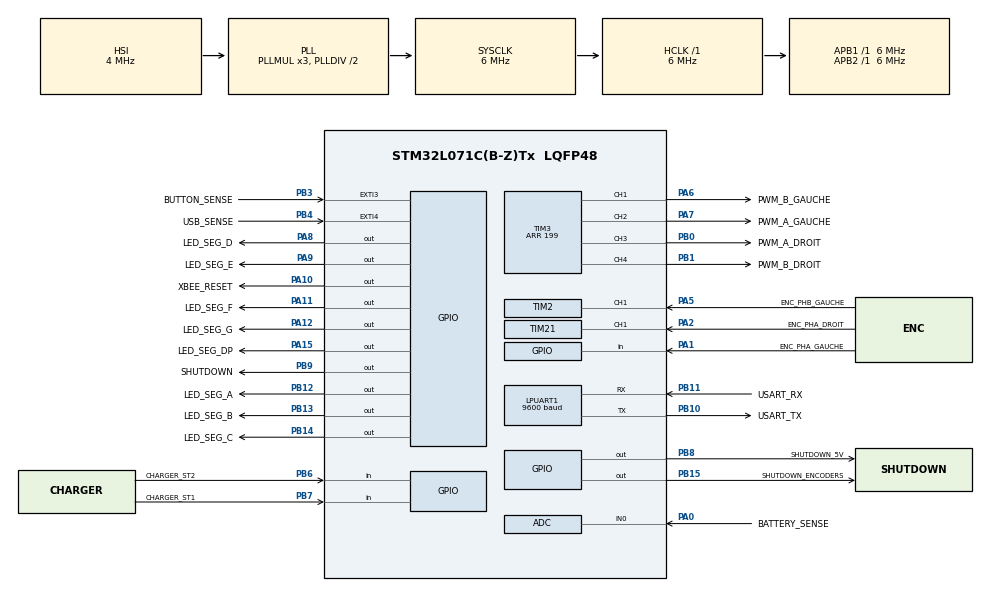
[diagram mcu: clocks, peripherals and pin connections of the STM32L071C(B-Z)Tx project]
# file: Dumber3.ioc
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ADC.Resolution=ADC_RESOLUTION_8B
ADC.SamplingTime=ADC_SAMPLETIME_160CYCLES_5
FREERTOS.INCLUDE_pcTaskGetTaskName=1
FREERTOS.INCLUDE_xEventGroupSetBitFromISR=1
FREERTOS.INCLUDE_xTaskAbortDelay=1
FREERTOS.INCLUDE_xTaskGetCurrentTaskHandle=1
FREERTOS.INCLUDE_xTaskGetHandle=1
FREERTOS.Tasks01=defaultTask,24,128,StartDefaultTask,Default,NULL,Dynamic,NULL,NULL
FREERTOS.configMAX_TASK_NAME_LEN=25
FREERTOS.configTICK_RATE_HZ=1000
FREERTOS.configTIMER_TASK_PRIORITY=3
FREERTOS.configTOTAL_HEAP_SIZE=1024
FREERTOS.configUSE_NEWLIB_REENTRANT=1
FREERTOS.configUSE_TICKLESS_IDLE=1
LPUART1.BaudRate=9600
LPUART1.DMADisableonRxErrorParam=UART_ADVFEATURE_DMA_DISABLEONRXERROR
LPUART1.WordLength=UART_WORDLENGTH_8B
Mcu.Family=STM32L0
Mcu.Name=STM32L071C(B-Z)Tx
Mcu.Package=LQFP48
NVIC.ADC1_COMP_IRQn=true\:3\:0\:false\:false\:true\:true\:true\:true\:true
NVIC.EXTI2_3_IRQn=true\:3\:0\:false\:false\:true\:true\:true\:true\:true
NVIC.EXTI4_15_IRQn=true\:3\:0\:false\:false\:true\:true\:true\:true\:true
NVIC.LPUART1_IRQn=true\:3\:0\:true\:false\:true\:true\:true\:true\:true
NVIC.TIM21_IRQn=true\:1\:0\:true\:false\:true\:false\:true\:true\:true
NVIC.TIM2_IRQn=true\:1\:0\:true\:false\:true\:false\:true\:true\:true
NVIC.TIM6_IRQn=true\:3\:0\:true\:false\:true\:false\:false\:true\:true
NVIC.TimeBase=TIM6_IRQn
NVIC.TimeBaseIP=TIM6
PA0.GPIO_Label=BATTERY_SENSE
PA0.Mode=IN0
PA0.Signal=ADC_IN0
PA1.GPIO_Label=ENC_PHA_GAUCHE
PA1.Signal=GPIO_Input
PA10.GPIO_Label=XBEE_RESET
PA10.PinState=GPIO_PIN_RESET
PA10.Signal=GPIO_Output
PA11.GPIO_Label=LED_SEG_F
PA11.Signal=GPIO_Output
PA12.GPIO_Label=LED_SEG_G
PA12.Signal=GPIO_Output
PA13.Mode=Serial_Wire
PA13.Signal=SYS_SWDIO
PA14.Mode=Serial_Wire
PA14.Signal=SYS_SWCLK
PA15.GPIO_Label=LED_SEG_DP
PA15.Signal=GPIO_Output
PA2.GPIO_Label=ENC_PHA_DROIT
PA2.Signal=S_TIM21_CH1
PA5.GPIO_Label=ENC_PHB_GAUCHE
PA5.Signal=S_TIM2_CH1
PA6.GPIO_Label=PWM_B_GAUCHE
PA6.Signal=S_TIM3_CH1
PA7.GPIO_Label=PWM_A_GAUCHE
PA7.Signal=S_TIM3_CH2
PA8.GPIO_Label=LED_SEG_D
PA8.Signal=GPIO_Output
PA9.GPIO_Label=LED_SEG_E
PA9.Signal=GPIO_Output
PB0.GPIO_Label=PWM_A_DROIT
PB0.GPIO_Speed=GPIO_SPEED_FREQ_LOW
PB0.Signal=S_TIM3_CH3
PB1.GPIO_Label=PWM_B_DROIT
PB1.GPIO_Speed=GPIO_SPEED_FREQ_LOW
PB1.Signal=S_TIM3_CH4
PB10.GPIO_Label=USART_TX
PB10.GPIO_Speed=GPIO_SPEED_FREQ_LOW
PB10.Mode=Asynchronous
PB10.Signal=LPUART1_TX
PB11.GPIO_Label=USART_RX
PB11.GPIO_Speed=GPIO_SPEED_FREQ_LOW
PB11.Mode=Asynchronous
PB11.Signal=LPUART1_RX
PB12.GPIO_Label=LED_SEG_A
PB12.GPIO_Speed=GPIO_SPEED_FREQ_LOW
PB12.PinState=GPIO_PIN_RESET
PB12.Signal=GPIO_Output
PB13.GPIO_Label=LED_SEG_B
PB13.GPIO_Speed=GPIO_SPEED_FREQ_LOW
PB13.Signal=GPIO_Output
PB14.GPIO_Label=LED_SEG_C
PB14.GPIO_Speed=GPIO_SPEED_FREQ_LOW
PB14.Signal=GPIO_Output
PB15.GPIO_Label=SHUTDOWN_ENCODERS
PB15.PinState=GPIO_PIN_SET
PB15.Signal=GPIO_Output
PB3.GPIO_Label=BUTTON_SENSE
PB3.GPIO_ModeDefaultEXTI=GPIO_MODE_IT_FALLING
PB3.Signal=GPXTI3
PB4.GPIO_Label=USB_SENSE
PB4.GPIO_ModeDefaultEXTI=GPIO_MODE_IT_RISING_FALLING
PB4.Signal=GPXTI4
PB6.GPIO_Label=CHARGER_ST2
PB6.Signal=GPIO_Input
PB7.GPIO_Label=CHARGER_ST1
PB7.Signal=GPIO_Input
PB8.GPIO_Label=SHUTDOWN_5V
PB8.Signal=GPIO_Output
PB9.GPIO_Label=SHUTDOWN
PB9.GPIO_ModeDefaultOutputPP=GPIO_MODE_OUTPUT_OD
PB9.PinState=GPIO_PIN_SET
PB9.Signal=GPIO_Output
ProjectManager.HeapSize=0x0
ProjectManager.StackSize=0x200
ProjectManager.TargetToolchain=STM32CubeIDE
RCC.ADCFreq_Value=4000000
RCC.AHBFreq_Value=6000000
RCC.APB1Freq_Value=6000000
RCC.APB1TimFreq_Value=6000000
RCC.APB2Freq_Value=6000000
RCC.APB2TimFreq_Value=6000000
RCC.HCLKFreq_Value=6000000
RCC.HSE_VALUE=8000000
RCC.HSI16_VALUE=16000000
RCC.HSIRCDiv=4
RCC.HSI_VALUE=4000000
RCC.LSE_VALUE=32768
RCC.MSI_VALUE=2097000
RCC.SYSCLKFreq_VALUE=6000000
RCC.SYSCLKSource=RCC_SYSCLKSOURCE_PLLCLK
RCC.VCOOutputFreq_Value=12000000
SH.S_TIM21_CH1.0=TIM21_CH1,PWM_Input_1
SH.S_TIM2_CH1.0=TIM2_CH1,PWM_Input_1
SH.S_TIM3_CH1.0=TIM3_CH1,PWM Generation1 CH1
SH.S_TIM3_CH2.0=TIM3_CH2,PWM Generation2 CH2
SH.S_TIM3_CH3.0=TIM3_CH3,PWM Generation3 CH3
SH.S_TIM3_CH4.0=TIM3_CH4,PWM Generation4 CH4
TIM2.ICFilter_1=3
TIM2.ICFilter_2=3
TIM2.Prescaler=0
TIM21.ICFilter_1=3
TIM21.ICFilter_2=3
TIM21.Prescaler=0
TIM3.Channel-PWM\ Generation1\ CH1=TIM_CHANNEL_1
TIM3.Channel-PWM\ Generation2\ CH2=TIM_CHANNEL_2
TIM3.Channel-PWM\ Generation3\ CH3=TIM_CHANNEL_3
TIM3.Channel-PWM\ Generation4\ CH4=TIM_CHANNEL_4
TIM3.Period=199
VP_FREERTOS_VS_CMSIS_V2.Mode=CMSIS_V2
VP_SYS_VS_tim6.Mode=TIM6
VP_TIM21_VS_ClockSourceINT.Mode=Internal
VP_TIM2_VS_ClockSourceINT.Mode=Internal
VP_TIM3_VS_ClockSourceINT.Mode=Internal
board=custom

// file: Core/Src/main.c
/* USER CODE BEGIN Header */
/**
 ******************************************************************************
 * @file           : main.c
 * @brief          : Main program body
 ******************************************************************************
 * @attention
 *
 * <h2><center>&copy; Copyright (c) 2022 STMicroelectronics.
 * All rights reserved.</center></h2>
 *
 * This software component is licensed by ST under BSD 3-Clause license,
 * the "License"; You may not use this file except in compliance with the
 * License. You may obtain a copy of the License at:
 *                        opensource.org/licenses/BSD-3-Clause
 *
 ******************************************************************************
 */
/* USER CODE END Header */
#include "main.h"
#include "cmsis_os.h"

/* USER CODE BEGIN Includes */
#include "application.h"

#ifdef TESTS
#include "tests.h"
#endif /* TESTS */

/* USER CODE END Includes */

ADC_HandleTypeDef hadc;

UART_HandleTypeDef hlpuart1;

TIM_HandleTypeDef htim2;
TIM_HandleTypeDef htim3;
TIM_HandleTypeDef htim21;

/* Definitions for defaultTask */
osThreadId_t defaultTaskHandle;
const osThreadAttr_t defaultTask_attributes = {
  .name = "defaultTask",
  .stack_size = 128 * 4,
  .priority = (osPriority_t) osPriorityNormal,
};

void SystemClock_Config(void);
static void MX_GPIO_Init(void);
static void MX_LPUART1_UART_Init(void);
static void MX_TIM2_Init(void);
static void MX_TIM3_Init(void);
static void MX_TIM21_Init(void);
static void MX_ADC_Init(void);
void StartDefaultTask(void *argument);

int main(void)
{

  /* MCU Configuration--------------------------------------------------------*/

  /* Reset of all peripherals, Initializes the Flash interface and the Systick. */
  HAL_Init();

  /* Configure the system clock */
  SystemClock_Config();

  /* Initialize all configured peripherals */
  MX_GPIO_Init();
  MX_LPUART1_UART_Init();
  MX_TIM2_Init();
  MX_TIM3_Init();
  MX_TIM21_Init();
  MX_ADC_Init();
  /* USER CODE BEGIN 2 */
#ifdef TESTS
  TESTS_Init();
#else
  APPLICATION_Init();
#endif /* TESTS */
  /* USER CODE END 2 */

  /* Init scheduler */
  osKernelInitialize();

  /* Create the thread(s) */
  /* creation of defaultTask */
  defaultTaskHandle = osThreadNew(StartDefaultTask, NULL, &defaultTask_attributes);

  /* Start scheduler */
  osKernelStart();

  /* We should never get here as control is now taken by the scheduler */
  /* Infinite loop */
	while (1)
	{

	}
}

void SystemClock_Config(void)
{
  RCC_OscInitTypeDef RCC_OscInitStruct = {0};
  RCC_ClkInitTypeDef RCC_ClkInitStruct = {0};
  RCC_PeriphCLKInitTypeDef PeriphClkInit = {0};

  /** Configure the main internal regulator output voltage
  */
  __HAL_PWR_VOLTAGESCALING_CONFIG(PWR_REGULATOR_VOLTAGE_SCALE1);

  /** Initializes the RCC Oscillators according to the specified parameters
  * in the RCC_OscInitTypeDef structure.
  */
  RCC_OscInitStruct.OscillatorType = RCC_OSCILLATORTYPE_HSI;
  RCC_OscInitStruct.HSIState = RCC_HSI_DIV4;
  RCC_OscInitStruct.HSICalibrationValue = RCC_HSICALIBRATION_DEFAULT;
  RCC_OscInitStruct.PLL.PLLState = RCC_PLL_ON;
  RCC_OscInitStruct.PLL.PLLSource = RCC_PLLSOURCE_HSI;
  RCC_OscInitStruct.PLL.PLLMUL = RCC_PLLMUL_3;
  RCC_OscInitStruct.PLL.PLLDIV = RCC_PLLDIV_2;
  if (HAL_RCC_OscConfig(&RCC_OscInitStruct) != HAL_OK)
  {
    Error_Handler();
  }

  /** Initializes the CPU, AHB and APB buses clocks
  */
  RCC_ClkInitStruct.ClockType = RCC_CLOCKTYPE_HCLK|RCC_CLOCKTYPE_SYSCLK
                              |RCC_CLOCKTYPE_PCLK1|RCC_CLOCKTYPE_PCLK2;
  RCC_ClkInitStruct.SYSCLKSource = RCC_SYSCLKSOURCE_PLLCLK;
  RCC_ClkInitStruct.AHBCLKDivider = RCC_SYSCLK_DIV1;
  RCC_ClkInitStruct.APB1CLKDivider = RCC_HCLK_DIV1;
  RCC_ClkInitStruct.APB2CLKDivider = RCC_HCLK_DIV1;

  if (HAL_RCC_ClockConfig(&RCC_ClkInitStruct, FLASH_LATENCY_0) != HAL_OK)
  {
    Error_Handler();
  }
  PeriphClkInit.PeriphClockSelection = RCC_PERIPHCLK_LPUART1;
  PeriphClkInit.Lpuart1ClockSelection = RCC_LPUART1CLKSOURCE_PCLK1;
  if (HAL_RCCEx_PeriphCLKConfig(&PeriphClkInit) != HAL_OK)
  {
    Error_Handler();
  }
}

static void MX_ADC_Init(void)
{

  ADC_ChannelConfTypeDef sConfig = {0};

  /** Configure the global features of the ADC (Clock, Resolution, Data Alignment and number of conversion)
  */
  hadc.Instance = ADC1;
  hadc.Init.OversamplingMode = DISABLE;
  hadc.Init.ClockPrescaler = ADC_CLOCK_SYNC_PCLK_DIV1;
  hadc.Init.Resolution = ADC_RESOLUTION_8B;
  hadc.Init.SamplingTime = ADC_SAMPLETIME_160CYCLES_5;
  hadc.Init.ScanConvMode = ADC_SCAN_DIRECTION_FORWARD;
  hadc.Init.DataAlign = ADC_DATAALIGN_RIGHT;
  hadc.Init.ContinuousConvMode = DISABLE;
  hadc.Init.DiscontinuousConvMode = DISABLE;
  hadc.Init.ExternalTrigConvEdge = ADC_EXTERNALTRIGCONVEDGE_NONE;
  hadc.Init.ExternalTrigConv = ADC_SOFTWARE_START;
  hadc.Init.DMAContinuousRequests = DISABLE;
  hadc.Init.EOCSelection = ADC_EOC_SINGLE_CONV;
  hadc.Init.Overrun = ADC_OVR_DATA_PRESERVED;
  hadc.Init.LowPowerAutoWait = DISABLE;
  hadc.Init.LowPowerFrequencyMode = DISABLE;
  hadc.Init.LowPowerAutoPowerOff = DISABLE;
  if (HAL_ADC_Init(&hadc) != HAL_OK)
  {
    Error_Handler();
  }

  /** Configure for the selected ADC regular channel to be converted.
  */
  sConfig.Channel = ADC_CHANNEL_0;
  sConfig.Rank = ADC_RANK_CHANNEL_NUMBER;
  if (HAL_ADC_ConfigChannel(&hadc, &sConfig) != HAL_OK)
  {
    Error_Handler();
  }

}

static void MX_LPUART1_UART_Init(void)
{

  hlpuart1.Instance = LPUART1;
  hlpuart1.Init.BaudRate = 9600;
  hlpuart1.Init.WordLength = UART_WORDLENGTH_8B;
  hlpuart1.Init.StopBits = UART_STOPBITS_1;
  hlpuart1.Init.Parity = UART_PARITY_NONE;
  hlpuart1.Init.Mode = UART_MODE_TX_RX;
  hlpuart1.Init.HwFlowCtl = UART_HWCONTROL_NONE;
  hlpuart1.Init.OneBitSampling = UART_ONE_BIT_SAMPLE_DISABLE;
  hlpuart1.AdvancedInit.AdvFeatureInit = UART_ADVFEATURE_DMADISABLEONERROR_INIT;
  hlpuart1.AdvancedInit.DMADisableonRxError = UART_ADVFEATURE_DMA_DISABLEONRXERROR;
  if (HAL_UART_Init(&hlpuart1) != HAL_OK)
  {
    Error_Handler();
  }

}

static void MX_TIM2_Init(void)
{

  TIM_ClockConfigTypeDef sClockSourceConfig = {0};
  TIM_SlaveConfigTypeDef sSlaveConfig = {0};
  TIM_IC_InitTypeDef sConfigIC = {0};
  TIM_MasterConfigTypeDef sMasterConfig = {0};

  htim2.Instance = TIM2;
  htim2.Init.Prescaler = 0;
  htim2.Init.CounterMode = TIM_COUNTERMODE_UP;
  htim2.Init.Period = 65535;
  htim2.Init.ClockDivision = TIM_CLOCKDIVISION_DIV1;
  htim2.Init.AutoReloadPreload = TIM_AUTORELOAD_PRELOAD_DISABLE;
  if (HAL_TIM_Base_Init(&htim2) != HAL_OK)
  {
    Error_Handler();
  }
  sClockSourceConfig.ClockSource = TIM_CLOCKSOURCE_INTERNAL;
  if (HAL_TIM_ConfigClockSource(&htim2, &sClockSourceConfig) != HAL_OK)
  {
    Error_Handler();
  }
  if (HAL_TIM_IC_Init(&htim2) != HAL_OK)
  {
    Error_Handler();
  }
  sSlaveConfig.SlaveMode = TIM_SLAVEMODE_RESET;
  sSlaveConfig.InputTrigger = TIM_TS_TI1FP1;
  sSlaveConfig.TriggerPolarity = TIM_INPUTCHANNELPOLARITY_RISING;
  sSlaveConfig.TriggerPrescaler = TIM_ICPSC_DIV1;
  sSlaveConfig.TriggerFilter = 3;
  if (HAL_TIM_SlaveConfigSynchro(&htim2, &sSlaveConfig) != HAL_OK)
  {
    Error_Handler();
  }
  sConfigIC.ICPolarity = TIM_INPUTCHANNELPOLARITY_RISING;
  sConfigIC.ICSelection = TIM_ICSELECTION_DIRECTTI;
  sConfigIC.ICPrescaler = TIM_ICPSC_DIV1;
  sConfigIC.ICFilter = 3;
  if (HAL_TIM_IC_ConfigChannel(&htim2, &sConfigIC, TIM_CHANNEL_1) != HAL_OK)
  {
    Error_Handler();
  }
  sConfigIC.ICPolarity = TIM_INPUTCHANNELPOLARITY_FALLING;
  sConfigIC.ICSelection = TIM_ICSELECTION_INDIRECTTI;
  if (HAL_TIM_IC_ConfigChannel(&htim2, &sConfigIC, TIM_CHANNEL_2) != HAL_OK)
  {
    Error_Handler();
  }
  sMasterConfig.MasterOutputTrigger = TIM_TRGO_RESET;
  sMasterConfig.MasterSlaveMode = TIM_MASTERSLAVEMODE_DISABLE;
  if (HAL_TIMEx_MasterConfigSynchronization(&htim2, &sMasterConfig) != HAL_OK)
  {
    Error_Handler();
  }

}

static void MX_TIM3_Init(void)
{

  TIM_ClockConfigTypeDef sClockSourceConfig = {0};
  TIM_MasterConfigTypeDef sMasterConfig = {0};
  TIM_OC_InitTypeDef sConfigOC = {0};

  htim3.Instance = TIM3;
  htim3.Init.Prescaler = 0;
  htim3.Init.CounterMode = TIM_COUNTERMODE_UP;
  htim3.Init.Period = 199;
  htim3.Init.ClockDivision = TIM_CLOCKDIVISION_DIV1;
  htim3.Init.AutoReloadPreload = TIM_AUTORELOAD_PRELOAD_DISABLE;
  if (HAL_TIM_Base_Init(&htim3) != HAL_OK)
  {
    Error_Handler();
  }
  sClockSourceConfig.ClockSource = TIM_CLOCKSOURCE_INTERNAL;
  if (HAL_TIM_ConfigClockSource(&htim3, &sClockSourceConfig) != HAL_OK)
  {
    Error_Handler();
  }
  if (HAL_TIM_PWM_Init(&htim3) != HAL_OK)
  {
    Error_Handler();
  }
  sMasterConfig.MasterOutputTrigger = TIM_TRGO_RESET;
  sMasterConfig.MasterSlaveMode = TIM_MASTERSLAVEMODE_DISABLE;
  if (HAL_TIMEx_MasterConfigSynchronization(&htim3, &sMasterConfig) != HAL_OK)
  {
    Error_Handler();
  }
  sConfigOC.OCMode = TIM_OCMODE_PWM1;
  sConfigOC.Pulse = 0;
  sConfigOC.OCPolarity = TIM_OCPOLARITY_HIGH;
  sConfigOC.OCFastMode = TIM_OCFAST_DISABLE;
  if (HAL_TIM_PWM_ConfigChannel(&htim3, &sConfigOC, TIM_CHANNEL_1) != HAL_OK)
  {
    Error_Handler();
  }
  if (HAL_TIMEx_RemapConfig(&htim3, TIM3_TI1_GPIO) != HAL_OK)
  {
    Error_Handler();
  }
  if (HAL_TIM_PWM_ConfigChannel(&htim3, &sConfigOC, TIM_CHANNEL_2) != HAL_OK)
  {
    Error_Handler();
  }
  if (HAL_TIM_PWM_ConfigChannel(&htim3, &sConfigOC, TIM_CHANNEL_3) != HAL_OK)
  {
    Error_Handler();
  }
  if (HAL_TIM_PWM_ConfigChannel(&htim3, &sConfigOC, TIM_CHANNEL_4) != HAL_OK)
  {
    Error_Handler();
  }
  HAL_TIM_MspPostInit(&htim3);

}

static void MX_TIM21_Init(void)
{

  TIM_ClockConfigTypeDef sClockSourceConfig = {0};
  TIM_SlaveConfigTypeDef sSlaveConfig = {0};
  TIM_IC_InitTypeDef sConfigIC = {0};
  TIM_MasterConfigTypeDef sMasterConfig = {0};

  htim21.Instance = TIM21;
  htim21.Init.Prescaler = 0;
  htim21.Init.CounterMode = TIM_COUNTERMODE_UP;
  htim21.Init.Period = 65535;
  htim21.Init.ClockDivision = TIM_CLOCKDIVISION_DIV1;
  htim21.Init.AutoReloadPreload = TIM_AUTORELOAD_PRELOAD_DISABLE;
  if (HAL_TIM_Base_Init(&htim21) != HAL_OK)
  {
    Error_Handler();
  }
  sClockSourceConfig.ClockSource = TIM_CLOCKSOURCE_INTERNAL;
  if (HAL_TIM_ConfigClockSource(&htim21, &sClockSourceConfig) != HAL_OK)
  {
    Error_Handler();
  }
  if (HAL_TIM_IC_Init(&htim21) != HAL_OK)
  {
    Error_Handler();
  }
  sSlaveConfig.SlaveMode = TIM_SLAVEMODE_RESET;
  sSlaveConfig.InputTrigger = TIM_TS_TI1FP1;
  sSlaveConfig.TriggerPolarity = TIM_INPUTCHANNELPOLARITY_RISING;
  sSlaveConfig.TriggerPrescaler = TIM_ICPSC_DIV1;
  sSlaveConfig.TriggerFilter = 3;
  if (HAL_TIM_SlaveConfigSynchro(&htim21, &sSlaveConfig) != HAL_OK)
  {
    Error_Handler();
  }
  sConfigIC.ICPolarity = TIM_INPUTCHANNELPOLARITY_RISING;
  sConfigIC.ICSelection = TIM_ICSELECTION_DIRECTTI;
  sConfigIC.ICPrescaler = TIM_ICPSC_DIV1;
  sConfigIC.ICFilter = 3;
  if (HAL_TIM_IC_ConfigChannel(&htim21, &sConfigIC, TIM_CHANNEL_1) != HAL_OK)
  {
    Error_Handler();
  }
  sConfigIC.ICPolarity = TIM_INPUTCHANNELPOLARITY_FALLING;
  sConfigIC.ICSelection = TIM_ICSELECTION_INDIRECTTI;
  if (HAL_TIM_IC_ConfigChannel(&htim21, &sConfigIC, TIM_CHANNEL_2) != HAL_OK)
  {
    Error_Handler();
  }
  sMasterConfig.MasterOutputTrigger = TIM_TRGO_RESET;
  sMasterConfig.MasterSlaveMode = TIM_MASTERSLAVEMODE_DISABLE;
  if (HAL_TIMEx_MasterConfigSynchronization(&htim21, &sMasterConfig) != HAL_OK)
  {
    Error_Handler();
  }

}

static void MX_GPIO_Init(void)
{
  GPIO_InitTypeDef GPIO_InitStruct = {0};

  /* GPIO Ports Clock Enable */
  __HAL_RCC_GPIOA_CLK_ENABLE();
  __HAL_RCC_GPIOB_CLK_ENABLE();

  /*Configure GPIO pin Output Level */
  HAL_GPIO_WritePin(GPIOB, LED_SEG_A_Pin|LED_SEG_B_Pin|LED_SEG_C_Pin|SHUTDOWN_5V_Pin, GPIO_PIN_RESET);

  /*Configure GPIO pin Output Level */
  HAL_GPIO_WritePin(GPIOB, SHUTDOWN_ENCODERS_Pin|SHUTDOWN_Pin, GPIO_PIN_SET);

  /*Configure GPIO pin Output Level */
  HAL_GPIO_WritePin(GPIOA, LED_SEG_D_Pin|LED_SEG_E_Pin|XBEE_RESET_Pin|LED_SEG_F_Pin
                          |LED_SEG_G_Pin|LED_SEG_DP_Pin, GPIO_PIN_RESET);

  /*Configure GPIO pin : ENC_PHA_GAUCHE_Pin */
  GPIO_InitStruct.Pin = ENC_PHA_GAUCHE_Pin;
  GPIO_InitStruct.Mode = GPIO_MODE_INPUT;
  GPIO_InitStruct.Pull = GPIO_NOPULL;
  HAL_GPIO_Init(ENC_PHA_GAUCHE_GPIO_Port, &GPIO_InitStruct);

  /*Configure GPIO pins : LED_SEG_A_Pin LED_SEG_B_Pin LED_SEG_C_Pin SHUTDOWN_ENCODERS_Pin
                           SHUTDOWN_5V_Pin */
  GPIO_InitStruct.Pin = LED_SEG_A_Pin|LED_SEG_B_Pin|LED_SEG_C_Pin|SHUTDOWN_ENCODERS_Pin
                          |SHUTDOWN_5V_Pin;
  GPIO_InitStruct.Mode = GPIO_MODE_OUTPUT_PP;
  GPIO_InitStruct.Pull = GPIO_NOPULL;
  GPIO_InitStruct.Speed = GPIO_SPEED_FREQ_LOW;
  HAL_GPIO_Init(GPIOB, &GPIO_InitStruct);

  /*Configure GPIO pins : LED_SEG_D_Pin LED_SEG_E_Pin XBEE_RESET_Pin LED_SEG_F_Pin
                           LED_SEG_G_Pin LED_SEG_DP_Pin */
  GPIO_InitStruct.Pin = LED_SEG_D_Pin|LED_SEG_E_Pin|XBEE_RESET_Pin|LED_SEG_F_Pin
                          |LED_SEG_G_Pin|LED_SEG_DP_Pin;
  GPIO_InitStruct.Mode = GPIO_MODE_OUTPUT_PP;
  GPIO_InitStruct.Pull = GPIO_NOPULL;
  GPIO_InitStruct.Speed = GPIO_SPEED_FREQ_LOW;
  HAL_GPIO_Init(GPIOA, &GPIO_InitStruct);

  /*Configure GPIO pin : BUTTON_SENSE_Pin */
  GPIO_InitStruct.Pin = BUTTON_SENSE_Pin;
  GPIO_InitStruct.Mode = GPIO_MODE_IT_FALLING;
  GPIO_InitStruct.Pull = GPIO_NOPULL;
  HAL_GPIO_Init(BUTTON_SENSE_GPIO_Port, &GPIO_InitStruct);

//  /*Configure GPIO pin : USB_SENSE_Pin */
//  GPIO_InitStruct.Pin = USB_SENSE_Pin;
//  GPIO_InitStruct.Mode = GPIO_MODE_IT_RISING_FALLING;
//  GPIO_InitStruct.Pull = GPIO_NOPULL;
//  HAL_GPIO_Init(USB_SENSE_GPIO_Port, &GPIO_InitStruct);

  /*Configure GPIO pins : CHARGER_ST2_Pin CHARGER_ST1_Pin */
  GPIO_InitStruct.Pin = CHARGER_ST2_Pin|CHARGER_ST1_Pin;
  GPIO_InitStruct.Mode = GPIO_MODE_INPUT;
  GPIO_InitStruct.Pull = GPIO_NOPULL;
  HAL_GPIO_Init(GPIOB, &GPIO_InitStruct);

  /*Configure GPIO pin : SHUTDOWN_Pin */
  GPIO_InitStruct.Pin = SHUTDOWN_Pin;
  GPIO_InitStruct.Mode = GPIO_MODE_OUTPUT_OD;
  GPIO_InitStruct.Pull = GPIO_NOPULL;
  GPIO_InitStruct.Speed = GPIO_SPEED_FREQ_LOW;
  HAL_GPIO_Init(SHUTDOWN_GPIO_Port, &GPIO_InitStruct);

  /* EXTI interrupt init*/
  HAL_NVIC_SetPriority(EXTI2_3_IRQn, 3, 0);
  HAL_NVIC_EnableIRQ(EXTI2_3_IRQn);

//  HAL_NVIC_SetPriority(EXTI4_15_IRQn, 3, 0);
//  HAL_NVIC_EnableIRQ(EXTI4_15_IRQn);

}

/* USER CODE BEGIN 4 */
TickType_t msToTicks(TickType_t ms) {
	TickType_t tmp = ms;

	if (ms<(1000/configTICK_RATE_HZ))
		tmp = 1;
	else {
		tmp = ms/(1000/configTICK_RATE_HZ);

		if (ms % (1000/configTICK_RATE_HZ)) // if the delay is not true multiple of tick rate, increase by one (delay longer)
			tmp ++;
	}
	return tmp;
}
/* USER CODE END 4 */

void StartDefaultTask(void *argument)
{
  /* USER CODE BEGIN 5 */
//	LEDS_State state = leds_off;
//
//	/* Infinite loop */
//	for(;;)
//	{
//		state++;
//		MESSAGE_SendMailbox(LEDS_Mailbox, MSG_ID_LED_ETAT, SEQUENCEUR_Mailbox, (void*)&state);
//
//		if (state>leds_erreur)
//			state = leds_off;
//
//		vTaskDelay(pdMS_TO_TICKS(5000));
//	}
  /* USER CODE END 5 */
}

void HAL_TIM_PeriodElapsedCallback(TIM_HandleTypeDef *htim)
{
  if (htim->Instance == TIM6) {
    HAL_IncTick();
  }
  /* USER CODE BEGIN Callback 1 */
  else if ((htim->Instance == TIM2) || (htim->Instance == TIM21))
		  MOTORS_TimerEncodeurUpdate (htim);
  /* USER CODE END Callback 1 */
}

void Error_Handler(void)
{
	__disable_irq();
	while (1)
	{
	}
}

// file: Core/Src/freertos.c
/* USER CODE BEGIN Header */
/**
  ******************************************************************************
  * File Name          : freertos.c
  * Description        : Code for freertos applications
  ******************************************************************************
  * @attention
  *
  * <h2><center>&copy; Copyright (c) 2022 STMicroelectronics.
  * All rights reserved.</center></h2>
  *
  * This software component is licensed by ST under Ultimate Liberty license
  * SLA0044, the "License"; You may not use this file except in compliance with
  * the License. You may obtain a copy of the License at:
  *                             www.st.com/SLA0044
  *
  ******************************************************************************
  */
/* USER CODE END Header */

#include "FreeRTOS.h"
#include "task.h"
#include "main.h"

/* USER CODE BEGIN PREPOSTSLEEP */
__weak void PreSleepProcessing(uint32_t *ulExpectedIdleTime)
{
/* place for user code */
}

__weak void PostSleepProcessing(uint32_t *ulExpectedIdleTime)
{
/* place for user code */
}
/* USER CODE END PREPOSTSLEEP */
